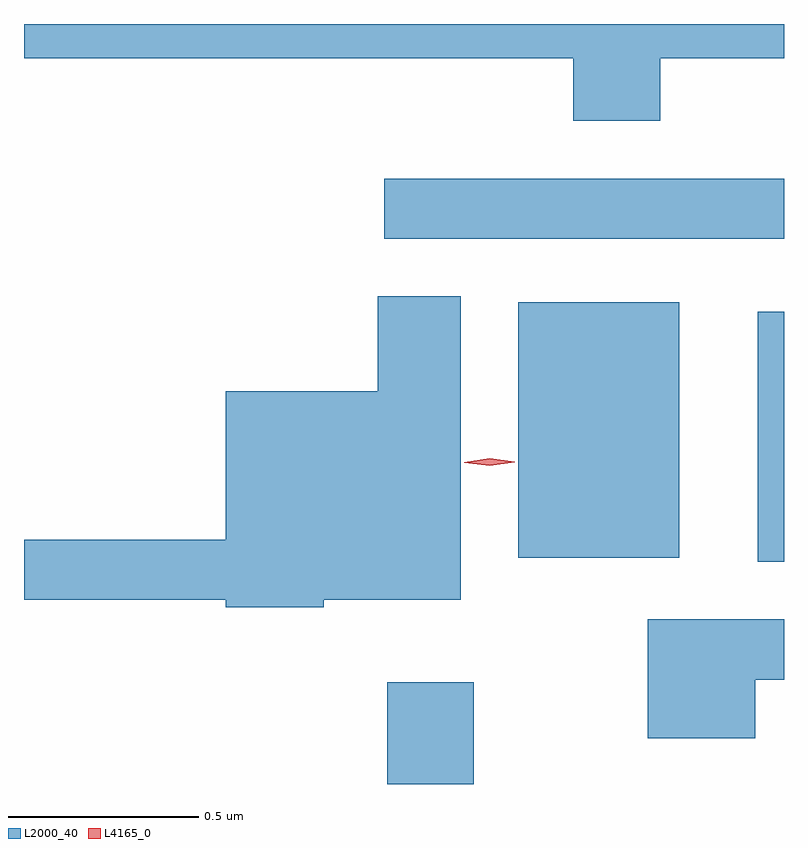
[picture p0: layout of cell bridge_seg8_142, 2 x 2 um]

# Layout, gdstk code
import gdstk
lib = gdstk.Library(unit=1e-6, precision=1e-09)
def R(c, l, rs):  # rectangles x0, y0, x1, y1
    for r in rs: c.add(gdstk.rectangle(r[:2], r[2:], *l))
def P(c, l, *ps):  # polygons
    for p in ps: c.add(gdstk.Polygon(p, *l))
L2000_40 = (2000, 40)
L4165_0 = (4165, 0)

bridge_seg8_142 = lib.new_cell('bridge_seg8_142')
R(bridge_seg8_142, L2000_40, [(1839.251,1852.266,1839.479,1852.534), (1840.226,1852.851,1840.295,1853.509), (1839.596,1852.861,1840.019,1853.534), (1839.243,1853.701,1840.295,1853.859)])
P(bridge_seg8_142, L2000_40, [(1839.969,1854.176),(1840.295,1854.176),(1840.295,1854.266),(1838.295,1854.266),(1838.295,1854.176),(1839.741,1854.176),(1839.741,1854.011),(1839.969,1854.011)],
  [(1839.084,1852.751),(1839.444,1852.751),(1839.444,1853.549),(1839.226,1853.549),(1839.226,1853.299),(1838.826,1853.299),(1838.826,1852.909),(1838.295,1852.909),(1838.295,1852.751),(1838.826,1852.751),(1838.826,1852.731),(1839.084,1852.731)],
  [(1840.219,1852.541),(1840.295,1852.541),(1840.295,1852.699),(1839.936,1852.699),(1839.936,1852.386),(1840.219,1852.386)])
P(bridge_seg8_142, L4165_0, [(1839.52,1853.103),(1839.454,1853.112),(1839.454,1853.112),(1839.454,1853.113),(1839.52,1853.123),(1839.586,1853.114),(1839.586,1853.113),(1839.586,1853.113)])

lib.write_gds('bridge_seg8_142.gds')
